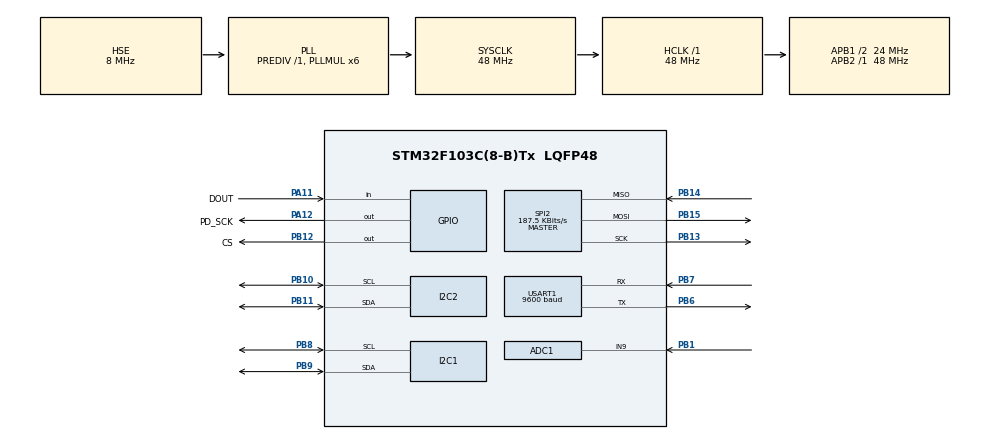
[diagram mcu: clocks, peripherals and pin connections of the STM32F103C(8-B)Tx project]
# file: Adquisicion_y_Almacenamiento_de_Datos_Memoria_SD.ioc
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ADC1.Channel-0\#ChannelRegularConversion=ADC_CHANNEL_9
ADC1.NbrOfConversionFlag=1
ADC1.Rank-0\#ChannelRegularConversion=1
ADC1.SamplingTime-0\#ChannelRegularConversion=ADC_SAMPLETIME_1CYCLE_5
ADC1.master=1
FATFS._CODE_PAGE=1
Mcu.Family=STM32F1
Mcu.Name=STM32F103C(8-B)Tx
Mcu.Package=LQFP48
NVIC.ADC1_2_IRQn=true\:0\:0\:false\:false\:true\:true\:true\:true
NVIC.PriorityGroup=NVIC_PRIORITYGROUP_4
NVIC.TIM2_IRQn=true\:0\:0\:false\:false\:true\:true\:true\:true
NVIC.TIM3_IRQn=true\:0\:0\:false\:false\:true\:true\:true\:true
PA11.GPIO_Label=DOUT
PA11.GPIO_PuPd=GPIO_PULLUP
PA11.Signal=GPIO_Input
PA12.GPIO_Label=PD_SCK
PA12.GPIO_Speed=GPIO_SPEED_FREQ_HIGH
PA12.Signal=GPIO_Output
PA13.Mode=Serial_Wire
PA13.Signal=SYS_JTMS-SWDIO
PA14.Mode=Serial_Wire
PA14.Signal=SYS_JTCK-SWCLK
PB1.Signal=ADCx_IN9
PB10.Mode=I2C
PB10.Signal=I2C2_SCL
PB11.Mode=I2C
PB11.Signal=I2C2_SDA
PB12.GPIO_Label=CS
PB12.Signal=GPIO_Output
PB13.Mode=Full_Duplex_Master
PB13.Signal=SPI2_SCK
PB14.Mode=Full_Duplex_Master
PB14.Signal=SPI2_MISO
PB15.Mode=Full_Duplex_Master
PB15.Signal=SPI2_MOSI
PB6.Mode=Asynchronous
PB6.Signal=USART1_TX
PB7.Mode=Asynchronous
PB7.Signal=USART1_RX
PB8.Mode=I2C
PB8.Signal=I2C1_SCL
PB9.Mode=I2C
PB9.Signal=I2C1_SDA
PD0-OSC_IN.Mode=HSE-External-Oscillator
PD0-OSC_IN.Signal=RCC_OSC_IN
PD1-OSC_OUT.Mode=HSE-External-Oscillator
PD1-OSC_OUT.Signal=RCC_OSC_OUT
ProjectManager.HeapSize=0x200
ProjectManager.StackSize=0x400
ProjectManager.TargetToolchain=STM32CubeIDE
RCC.ADCPresc=RCC_ADCPCLK2_DIV6
RCC.AHBFreq_Value=48000000
RCC.APB1CLKDivider=RCC_HCLK_DIV2
RCC.APB1Freq_Value=24000000
RCC.APB1TimFreq_Value=48000000
RCC.APB2Freq_Value=48000000
RCC.APB2TimFreq_Value=48000000
RCC.HCLKFreq_Value=48000000
RCC.PLLMUL=RCC_PLL_MUL6
RCC.PLLSourceVirtual=RCC_PLLSOURCE_HSE
RCC.SYSCLKFreq_VALUE=48000000
RCC.SYSCLKSource=RCC_SYSCLKSOURCE_PLLCLK
RCC.USBFreq_Value=48000000
RTC.Date=2
RTC.Hours=11
RTC.Minutes=15
RTC.Month=RTC_MONTH_NOVEMBER
RTC.WeekDay=RTC_WEEKDAY_WEDNESDAY
RTC.Year=22
SH.ADCx_IN9.0=ADC1_IN9,IN9
SPI2.BaudRatePrescaler=SPI_BAUDRATEPRESCALER_128
SPI2.CalculateBaudRate=187.5 KBits/s
SPI2.Direction=SPI_DIRECTION_2LINES
SPI2.Mode=SPI_MODE_MASTER
SPI2.VirtualType=VM_MASTER
TIM1.Prescaler=48
TIM2.Channel-Output\ Compare1\ No\ Output=TIM_CHANNEL_1
TIM2.Period=59999
TIM2.Prescaler=48000
TIM2.Pulse-Output\ Compare1\ No\ Output=4999
TIM3.Channel-Output\ Compare1\ No\ Output=TIM_CHANNEL_1
TIM3.Period=59999
TIM3.Prescaler=800
TIM3.Pulse-Output\ Compare1\ No\ Output=59
USART1.BaudRate=9600
USART1.VirtualMode=VM_ASYNC
VP_FATFS_VS_Generic.Mode=User_defined
VP_RTC_VS_RTC_Activate.Mode=RTC_Enabled
VP_RTC_VS_RTC_Calendar.Mode=RTC_Calendar
VP_TIM1_VS_ClockSourceINT.Mode=Internal
VP_TIM2_VS_ClockSourceINT.Mode=Internal
VP_TIM2_VS_no_output1.Mode=Output Compare1 No Output
VP_TIM3_VS_ClockSourceINT.Mode=Internal
VP_TIM3_VS_no_output1.Mode=Output Compare1 No Output
board=custom

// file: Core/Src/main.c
/* USER CODE BEGIN Header */
/**
  ******************************************************************************
  * @file           : main.c
  * @brief          : Main program body
  ******************************************************************************
  * @attention
  *
  * Copyright (c) 2022 STMicroelectronics.
  * All rights reserved.
  *
  * This software is licensed under terms that can be found in the LICENSE file
  * in the root directory of this software component.
  * If no LICENSE file comes with this software, it is provided AS-IS.
  *
  ******************************************************************************
  */
/* USER CODE END Header */
#include "main.h"
#include "fatfs.h"

/* USER CODE BEGIN Includes */
#include "AHT10.h"
#include "BMP180.h"
#include "HX711.h"
#include "RTC.h"
#include "veleta.h"
#include "serial.h"
#include "SPISD.h"
/* USER CODE END Includes */

/* USER CODE BEGIN PTD */
/* Definimos una estructura para guardar los datos meteorológicos adquiridos */
typedef struct METEO_DATA {
	float temp;
	float humrel;
	float pres;
	float velviento;
	uint8_t dirviento;
	float precip;
} METEO_DATA;

/* USER CODE END PTD */

ADC_HandleTypeDef hadc1;

I2C_HandleTypeDef hi2c1;
I2C_HandleTypeDef hi2c2;

RTC_HandleTypeDef hrtc;

SPI_HandleTypeDef hspi2;

TIM_HandleTypeDef htim1;
TIM_HandleTypeDef htim2;
TIM_HandleTypeDef htim3;

UART_HandleTypeDef huart1;

/* USER CODE BEGIN PV */
SPISD spisd;
SPISD *mainSD = &spisd;
uint8_t Sector0[516];

_Bool flag_adquisicion=0; // Variable bandera que se pone en 1 cuando interrumpe el TIM2 cada 5 min
_Bool flag_muestras=0; // Variable bandera que se pone en 1 cuando interrumpe por OC el CH1 del TIM3, cada 1 ms
_Bool flag_conversion=0; // Variable bandera que se activa cuando finaliza la conversión del ADC

/* USER CODE END PV */

void SystemClock_Config(void);
static void MX_GPIO_Init(void);
static void MX_ADC1_Init(void);
static void MX_I2C1_Init(void);
static void MX_I2C2_Init(void);
static void MX_RTC_Init(void);
static void MX_TIM1_Init(void);
static void MX_TIM2_Init(void);
static void MX_TIM3_Init(void);
static void MX_USART1_UART_Init(void);
static void MX_SPI2_Init(void);
/* USER CODE BEGIN PFP */
void Adquirir_Datos(METEO_DATA*);
void Almacenar_Datos(METEO_DATA*);
/* USER CODE END PFP */

/* USER CODE BEGIN 0 */
void HAL_TIM_PeriodElapsedCallback(TIM_HandleTypeDef *htim){

	if(htim->Instance == TIM2){
		flag_adquisicion=1;
	}
/*	else if(htim->Instance == TIM3){
		flag_muestras=1;
	}*/

}

void HAL_TIM_OC_DelayElapsedCallback(TIM_HandleTypeDef *htim){

	uint32_t pulse;
/*	if(htim->Instance == TIM2){
		pulse = HAL_TIM_ReadCapturedValue(htim, TIM_CHANNEL_1);
		if(__HAL_TIM_GET_AUTORELOAD(htim)>(pulse+5000)){
			__HAL_TIM_SET_COMPARE(htim,TIM_CHANNEL_1,(pulse+(5000)));
		}
		else {
			__HAL_TIM_SET_COMPARE(htim,TIM_CHANNEL_1,4999);
		}
	}*/

	if(htim->Instance == TIM3){
		flag_muestras=1;
		pulse = HAL_TIM_ReadCapturedValue(htim, TIM_CHANNEL_1);
		if(__HAL_TIM_GET_AUTORELOAD(htim)>(pulse+60)){
			__HAL_TIM_SET_COMPARE(htim,TIM_CHANNEL_1,(pulse+(60)));
		}
		else {
			__HAL_TIM_SET_COMPARE(htim,TIM_CHANNEL_1,59);
		}
	}

}

void HAL_ADC_ConvCpltCallback(ADC_HandleTypeDef *hadc){

	flag_conversion=1;
}

void Adquirir_Datos(METEO_DATA *data){

	AHT10_DATA tempyhum; // Variable para guardar los datos leídos de temperatura y humedad del AHT10
	float volprom; // Tensión analógica promedio de la veleta
	uint8_t dviento; // Dirección del viento

	/* Leemos primero el dato actual de temperatura y actual del sensor AHT10. En este caso, tomamos una
	 * sola muestra de temperatura y humedad */
	tempyhum=AHT10_Read();
	data->temp=tempyhum.tcelsius; // Temperatura actual (en °C)
	data->humrel=tempyhum.hr; // Humedad relativa (en %)

	/* Ahora leemos el dato de presión atmosférica proveniente del sensor BMP180. Al igual que antes,
	 * tomamos una única muestra de presión atmosférica sin hacer ningún promedio */
	data->pres=BMP180_Get_TruePressure(BMP180_STANDARD); // Presión atmosférica (en hPa)

	/* Obtenemos ahora la precipitación acumulada mediante una lectura del pluviómetro */
	//data->precip=Leer_Pluviometro(); // Precipitación acumulada (en mm)

	/* Obtenemos la dirección del viento a partir de la tensión analógica muestreada de la veleta. Se hace
	 * un promedio de 50 o 100 muestras de tensión analógica tomadas cada 1 ms */
	//volprom=Prom_Muestras_Veleta(100);
	//dviento=Detectar_Dir_Viento(volprom);
	//data->dirviento=dviento;
}

void Almacenar_Datos(METEO_DATA *data){

	//uint8_t buf[40];
	//uint32_t output;
	FECHA fechaactual;
	HORA horaactual;
	/* Debemos obtener primero la fecha y hora actuales */
	fechaactual=Obtener_Fecha_Actual();
	horaactual=Obtener_Hora_Actual();

	/* Escribimos primero la fecha actual en el archivo de texto de la memoria SD */
	Escribir_Fecha_Actual(&fechaactual);
/*	sprintf((char*)buf,"%s/%s/%s ",fechaactual.dia,fechaactual.mes,fechaactual.ano);
	  if (f_write(&USERFile,buf,strlen((const char*)buf),(void*)&output)!=FR_OK){
		  Serial_Println("Error al escribir el archivo",'A');
	  }*/
	/* Ahora escribimos la hora actual en el archivo de texto */
	Escribir_Hora_Actual(&horaactual);
/*	sprintf((char*)buf,"%s:%s ",horaactual.horas,horaactual.minutos);
	  if (f_write(&USERFile,buf,strlen((const char*)buf),(void*)&output)!=FR_OK){
		  Serial_Println("Error al escribir el archivo",'A');
	  }*/
	/* Finalmente escribimos los datos meteorológicos adquiridos en el archivo de texto */
	Escribir_Dato_Float(data->temp,2," ");
	Escribir_Dato_Float(data->humrel,2," ");
	Escribir_Dato_Float(data->pres,4," ");
	//Escribir_Dir_Viento(data->dirviento," ");
	//Escribir_Dato_Float(data->precip,3,"\n");
/*	sprintf((char*)buf,"%2.1f %2.1f %4.1f %3.1f ",data->temp,data->humrel,data->pres);
	if (f_write(&USERFile,buf,strlen((const char*)buf),(void*)&output)==FR_OK){
		Serial_Print("R0G255B0",'C'); // Encendemos un indicador verde si el archivo se escribió correctamente
		  if (f_sync(&USERFile)==FR_OK){
			  f_close(&USERFile);
		  }
	}
	else {
		Serial_Print("R255G0B0",'C'); // Encendemos un indicador rojo si el archivo no se pudo escribir
	}*/
}

/* USER CODE END 0 */

int main(void)
{

  /* MCU Configuration--------------------------------------------------------*/

  /* Reset of all peripherals, Initializes the Flash interface and the Systick. */
  HAL_Init();

  /* Configure the system clock */
  SystemClock_Config();

  /* USER CODE BEGIN SysInit */
  spisd.FSM=Encendido;
  spisd.csPuerto = CS_GPIO_Port;
  spisd.csPin = CS_Pin;
  spisd.puertoSPI = &hspi2;
  spisd.sectorAddressing=1; //Asumimos SDHC (+2GB)
  spisd.hrtc = &hrtc;
  /* USER CODE END SysInit */

  /* Initialize all configured peripherals */
  MX_GPIO_Init();
  MX_ADC1_Init();
  MX_I2C1_Init();
  MX_I2C2_Init();
  MX_RTC_Init();
  MX_TIM1_Init();
  MX_TIM2_Init();
  MX_TIM3_Init();
  MX_USART1_UART_Init();
  MX_FATFS_Init();
  MX_SPI2_Init();
  /* USER CODE BEGIN 2 */
  /* Obtenemos los coeficientes de calibración del sensor BMP180 para el cálculo de la presión */
  BMP180_Get_AllCalCoef();
  /* Función para calibrar el pluviómetro utilizando un peso conocido (en este caso, un peso de agua conocido) */
  //HX711_Set_Scale(20);

  f_mount(&USERFatFS,USERPath,0); // Las variables &USERFatFS y USERPath son creadas automáticamente por el File system

  f_open(&USERFile,"Datos5.txt",FA_CREATE_ALWAYS | FA_WRITE);

  /* Inicializamos el timer TIM2, el cual generará la demora necesaria para la adquisición de datos */
  HAL_TIM_Base_Start_IT(&htim2);

  METEO_DATA datos;
  /* USER CODE END 2 */

  /* Infinite loop */
  while (1)
  {

    /* USER CODE BEGIN 3 */
	  if(flag_adquisicion==1){
		  flag_adquisicion=0;
		  Adquirir_Datos(&datos);
		  Almacenar_Datos(&datos);
	  }
  }
  /* USER CODE END 3 */
}

void SystemClock_Config(void)
{
  RCC_OscInitTypeDef RCC_OscInitStruct = {0};
  RCC_ClkInitTypeDef RCC_ClkInitStruct = {0};
  RCC_PeriphCLKInitTypeDef PeriphClkInit = {0};

  /** Initializes the RCC Oscillators according to the specified parameters
  * in the RCC_OscInitTypeDef structure.
  */
  RCC_OscInitStruct.OscillatorType = RCC_OSCILLATORTYPE_LSI|RCC_OSCILLATORTYPE_HSE;
  RCC_OscInitStruct.HSEState = RCC_HSE_ON;
  RCC_OscInitStruct.HSEPredivValue = RCC_HSE_PREDIV_DIV1;
  RCC_OscInitStruct.HSIState = RCC_HSI_ON;
  RCC_OscInitStruct.LSIState = RCC_LSI_ON;
  RCC_OscInitStruct.PLL.PLLState = RCC_PLL_ON;
  RCC_OscInitStruct.PLL.PLLSource = RCC_PLLSOURCE_HSE;
  RCC_OscInitStruct.PLL.PLLMUL = RCC_PLL_MUL6;
  if (HAL_RCC_OscConfig(&RCC_OscInitStruct) != HAL_OK)
  {
    Error_Handler();
  }

  /** Initializes the CPU, AHB and APB buses clocks
  */
  RCC_ClkInitStruct.ClockType = RCC_CLOCKTYPE_HCLK|RCC_CLOCKTYPE_SYSCLK
                              |RCC_CLOCKTYPE_PCLK1|RCC_CLOCKTYPE_PCLK2;
  RCC_ClkInitStruct.SYSCLKSource = RCC_SYSCLKSOURCE_PLLCLK;
  RCC_ClkInitStruct.AHBCLKDivider = RCC_SYSCLK_DIV1;
  RCC_ClkInitStruct.APB1CLKDivider = RCC_HCLK_DIV2;
  RCC_ClkInitStruct.APB2CLKDivider = RCC_HCLK_DIV1;

  if (HAL_RCC_ClockConfig(&RCC_ClkInitStruct, FLASH_LATENCY_1) != HAL_OK)
  {
    Error_Handler();
  }
  PeriphClkInit.PeriphClockSelection = RCC_PERIPHCLK_RTC|RCC_PERIPHCLK_ADC;
  PeriphClkInit.RTCClockSelection = RCC_RTCCLKSOURCE_LSI;
  PeriphClkInit.AdcClockSelection = RCC_ADCPCLK2_DIV6;
  if (HAL_RCCEx_PeriphCLKConfig(&PeriphClkInit) != HAL_OK)
  {
    Error_Handler();
  }
}

static void MX_ADC1_Init(void)
{

  ADC_ChannelConfTypeDef sConfig = {0};

  /** Common config
  */
  hadc1.Instance = ADC1;
  hadc1.Init.ScanConvMode = ADC_SCAN_DISABLE;
  hadc1.Init.ContinuousConvMode = DISABLE;
  hadc1.Init.DiscontinuousConvMode = DISABLE;
  hadc1.Init.ExternalTrigConv = ADC_SOFTWARE_START;
  hadc1.Init.DataAlign = ADC_DATAALIGN_RIGHT;
  hadc1.Init.NbrOfConversion = 1;
  if (HAL_ADC_Init(&hadc1) != HAL_OK)
  {
    Error_Handler();
  }

  /** Configure Regular Channel
  */
  sConfig.Channel = ADC_CHANNEL_9;
  sConfig.Rank = ADC_REGULAR_RANK_1;
  sConfig.SamplingTime = ADC_SAMPLETIME_1CYCLE_5;
  if (HAL_ADC_ConfigChannel(&hadc1, &sConfig) != HAL_OK)
  {
    Error_Handler();
  }

}

static void MX_I2C1_Init(void)
{

  hi2c1.Instance = I2C1;
  hi2c1.Init.ClockSpeed = 100000;
  hi2c1.Init.DutyCycle = I2C_DUTYCYCLE_2;
  hi2c1.Init.OwnAddress1 = 0;
  hi2c1.Init.AddressingMode = I2C_ADDRESSINGMODE_7BIT;
  hi2c1.Init.DualAddressMode = I2C_DUALADDRESS_DISABLE;
  hi2c1.Init.OwnAddress2 = 0;
  hi2c1.Init.GeneralCallMode = I2C_GENERALCALL_DISABLE;
  hi2c1.Init.NoStretchMode = I2C_NOSTRETCH_DISABLE;
  if (HAL_I2C_Init(&hi2c1) != HAL_OK)
  {
    Error_Handler();
  }

}

static void MX_I2C2_Init(void)
{

  hi2c2.Instance = I2C2;
  hi2c2.Init.ClockSpeed = 100000;
  hi2c2.Init.DutyCycle = I2C_DUTYCYCLE_2;
  hi2c2.Init.OwnAddress1 = 0;
  hi2c2.Init.AddressingMode = I2C_ADDRESSINGMODE_7BIT;
  hi2c2.Init.DualAddressMode = I2C_DUALADDRESS_DISABLE;
  hi2c2.Init.OwnAddress2 = 0;
  hi2c2.Init.GeneralCallMode = I2C_GENERALCALL_DISABLE;
  hi2c2.Init.NoStretchMode = I2C_NOSTRETCH_DISABLE;
  if (HAL_I2C_Init(&hi2c2) != HAL_OK)
  {
    Error_Handler();
  }

}

static void MX_RTC_Init(void)
{

  RTC_TimeTypeDef sTime = {0};
  RTC_DateTypeDef DateToUpdate = {0};

  /** Initialize RTC Only
  */
  hrtc.Instance = RTC;
  hrtc.Init.AsynchPrediv = RTC_AUTO_1_SECOND;
  hrtc.Init.OutPut = RTC_OUTPUTSOURCE_ALARM;
  if (HAL_RTC_Init(&hrtc) != HAL_OK)
  {
    Error_Handler();
  }

  /** Initialize RTC and set the Time and Date
  */
  sTime.Hours = 0x18;
  sTime.Minutes = 0x24;
  sTime.Seconds = 0x0;

  if (HAL_RTC_SetTime(&hrtc, &sTime, RTC_FORMAT_BCD) != HAL_OK)
  {
    Error_Handler();
  }
  DateToUpdate.WeekDay = RTC_WEEKDAY_WEDNESDAY;
  DateToUpdate.Month = RTC_MONTH_NOVEMBER;
  DateToUpdate.Date = 0x2;
  DateToUpdate.Year = 0x22;

  if (HAL_RTC_SetDate(&hrtc, &DateToUpdate, RTC_FORMAT_BCD) != HAL_OK)
  {
    Error_Handler();
  }

}

static void MX_SPI2_Init(void)
{

  /* SPI2 parameter configuration*/
  hspi2.Instance = SPI2;
  hspi2.Init.Mode = SPI_MODE_MASTER;
  hspi2.Init.Direction = SPI_DIRECTION_2LINES;
  hspi2.Init.DataSize = SPI_DATASIZE_8BIT;
  hspi2.Init.CLKPolarity = SPI_POLARITY_LOW;
  hspi2.Init.CLKPhase = SPI_PHASE_1EDGE;
  hspi2.Init.NSS = SPI_NSS_SOFT;
  hspi2.Init.BaudRatePrescaler = SPI_BAUDRATEPRESCALER_128;
  hspi2.Init.FirstBit = SPI_FIRSTBIT_MSB;
  hspi2.Init.TIMode = SPI_TIMODE_DISABLE;
  hspi2.Init.CRCCalculation = SPI_CRCCALCULATION_DISABLE;
  hspi2.Init.CRCPolynomial = 10;
  if (HAL_SPI_Init(&hspi2) != HAL_OK)
  {
    Error_Handler();
  }

}

static void MX_TIM1_Init(void)
{

  TIM_ClockConfigTypeDef sClockSourceConfig = {0};
  TIM_MasterConfigTypeDef sMasterConfig = {0};

  htim1.Instance = TIM1;
  htim1.Init.Prescaler = 48;
  htim1.Init.CounterMode = TIM_COUNTERMODE_UP;
  htim1.Init.Period = 65535;
  htim1.Init.ClockDivision = TIM_CLOCKDIVISION_DIV1;
  htim1.Init.RepetitionCounter = 0;
  htim1.Init.AutoReloadPreload = TIM_AUTORELOAD_PRELOAD_DISABLE;
  if (HAL_TIM_Base_Init(&htim1) != HAL_OK)
  {
    Error_Handler();
  }
  sClockSourceConfig.ClockSource = TIM_CLOCKSOURCE_INTERNAL;
  if (HAL_TIM_ConfigClockSource(&htim1, &sClockSourceConfig) != HAL_OK)
  {
    Error_Handler();
  }
  sMasterConfig.MasterOutputTrigger = TIM_TRGO_RESET;
  sMasterConfig.MasterSlaveMode = TIM_MASTERSLAVEMODE_DISABLE;
  if (HAL_TIMEx_MasterConfigSynchronization(&htim1, &sMasterConfig) != HAL_OK)
  {
    Error_Handler();
  }

}

static void MX_TIM2_Init(void)
{

  TIM_ClockConfigTypeDef sClockSourceConfig = {0};
  TIM_MasterConfigTypeDef sMasterConfig = {0};
  TIM_OC_InitTypeDef sConfigOC = {0};

  htim2.Instance = TIM2;
  htim2.Init.Prescaler = 48000;
  htim2.Init.CounterMode = TIM_COUNTERMODE_UP;
  htim2.Init.Period = 59999;
  htim2.Init.ClockDivision = TIM_CLOCKDIVISION_DIV1;
  htim2.Init.AutoReloadPreload = TIM_AUTORELOAD_PRELOAD_DISABLE;
  if (HAL_TIM_Base_Init(&htim2) != HAL_OK)
  {
    Error_Handler();
  }
  sClockSourceConfig.ClockSource = TIM_CLOCKSOURCE_INTERNAL;
  if (HAL_TIM_ConfigClockSource(&htim2, &sClockSourceConfig) != HAL_OK)
  {
    Error_Handler();
  }
  if (HAL_TIM_OC_Init(&htim2) != HAL_OK)
  {
    Error_Handler();
  }
  sMasterConfig.MasterOutputTrigger = TIM_TRGO_RESET;
  sMasterConfig.MasterSlaveMode = TIM_MASTERSLAVEMODE_DISABLE;
  if (HAL_TIMEx_MasterConfigSynchronization(&htim2, &sMasterConfig) != HAL_OK)
  {
    Error_Handler();
  }
  sConfigOC.OCMode = TIM_OCMODE_TIMING;
  sConfigOC.Pulse = 4999;
  sConfigOC.OCPolarity = TIM_OCPOLARITY_HIGH;
  sConfigOC.OCFastMode = TIM_OCFAST_DISABLE;
  if (HAL_TIM_OC_ConfigChannel(&htim2, &sConfigOC, TIM_CHANNEL_1) != HAL_OK)
  {
    Error_Handler();
  }

}

static void MX_TIM3_Init(void)
{

  TIM_ClockConfigTypeDef sClockSourceConfig = {0};
  TIM_MasterConfigTypeDef sMasterConfig = {0};
  TIM_OC_InitTypeDef sConfigOC = {0};

  htim3.Instance = TIM3;
  htim3.Init.Prescaler = 800;
  htim3.Init.CounterMode = TIM_COUNTERMODE_UP;
  htim3.Init.Period = 59999;
  htim3.Init.ClockDivision = TIM_CLOCKDIVISION_DIV1;
  htim3.Init.AutoReloadPreload = TIM_AUTORELOAD_PRELOAD_DISABLE;
  if (HAL_TIM_Base_Init(&htim3) != HAL_OK)
  {
    Error_Handler();
  }
  sClockSourceConfig.ClockSource = TIM_CLOCKSOURCE_INTERNAL;
  if (HAL_TIM_ConfigClockSource(&htim3, &sClockSourceConfig) != HAL_OK)
  {
    Error_Handler();
  }
  if (HAL_TIM_OC_Init(&htim3) != HAL_OK)
  {
    Error_Handler();
  }
  sMasterConfig.MasterOutputTrigger = TIM_TRGO_RESET;
  sMasterConfig.MasterSlaveMode = TIM_MASTERSLAVEMODE_DISABLE;
  if (HAL_TIMEx_MasterConfigSynchronization(&htim3, &sMasterConfig) != HAL_OK)
  {
    Error_Handler();
  }
  sConfigOC.OCMode = TIM_OCMODE_TIMING;
  sConfigOC.Pulse = 59;
  sConfigOC.OCPolarity = TIM_OCPOLARITY_HIGH;
  sConfigOC.OCFastMode = TIM_OCFAST_DISABLE;
  if (HAL_TIM_OC_ConfigChannel(&htim3, &sConfigOC, TIM_CHANNEL_1) != HAL_OK)
  {
    Error_Handler();
  }

}

static void MX_USART1_UART_Init(void)
{

  huart1.Instance = USART1;
  huart1.Init.BaudRate = 9600;
  huart1.Init.WordLength = UART_WORDLENGTH_8B;
  huart1.Init.StopBits = UART_STOPBITS_1;
  huart1.Init.Parity = UART_PARITY_NONE;
  huart1.Init.Mode = UART_MODE_TX_RX;
  huart1.Init.HwFlowCtl = UART_HWCONTROL_NONE;
  huart1.Init.OverSampling = UART_OVERSAMPLING_16;
  if (HAL_UART_Init(&huart1) != HAL_OK)
  {
    Error_Handler();
  }

}

static void MX_GPIO_Init(void)
{
  GPIO_InitTypeDef GPIO_InitStruct = {0};

  /* GPIO Ports Clock Enable */
  __HAL_RCC_GPIOD_CLK_ENABLE();
  __HAL_RCC_GPIOB_CLK_ENABLE();
  __HAL_RCC_GPIOA_CLK_ENABLE();

  /*Configure GPIO pin Output Level */
  HAL_GPIO_WritePin(CS_GPIO_Port, CS_Pin, GPIO_PIN_RESET);

  /*Configure GPIO pin Output Level */
  HAL_GPIO_WritePin(PD_SCK_GPIO_Port, PD_SCK_Pin, GPIO_PIN_RESET);

  /*Configure GPIO pin : CS_Pin */
  GPIO_InitStruct.Pin = CS_Pin;
  GPIO_InitStruct.Mode = GPIO_MODE_OUTPUT_PP;
  GPIO_InitStruct.Pull = GPIO_NOPULL;
  GPIO_InitStruct.Speed = GPIO_SPEED_FREQ_LOW;
  HAL_GPIO_Init(CS_GPIO_Port, &GPIO_InitStruct);

  /*Configure GPIO pin : DOUT_Pin */
  GPIO_InitStruct.Pin = DOUT_Pin;
  GPIO_InitStruct.Mode = GPIO_MODE_INPUT;
  GPIO_InitStruct.Pull = GPIO_PULLUP;
  HAL_GPIO_Init(DOUT_GPIO_Port, &GPIO_InitStruct);

  /*Configure GPIO pin : PD_SCK_Pin */
  GPIO_InitStruct.Pin = PD_SCK_Pin;
  GPIO_InitStruct.Mode = GPIO_MODE_OUTPUT_PP;
  GPIO_InitStruct.Pull = GPIO_NOPULL;
  GPIO_InitStruct.Speed = GPIO_SPEED_FREQ_HIGH;
  HAL_GPIO_Init(PD_SCK_GPIO_Port, &GPIO_InitStruct);

}

void Error_Handler(void)
{
  __disable_irq();
  while (1)
  {
  }
}
